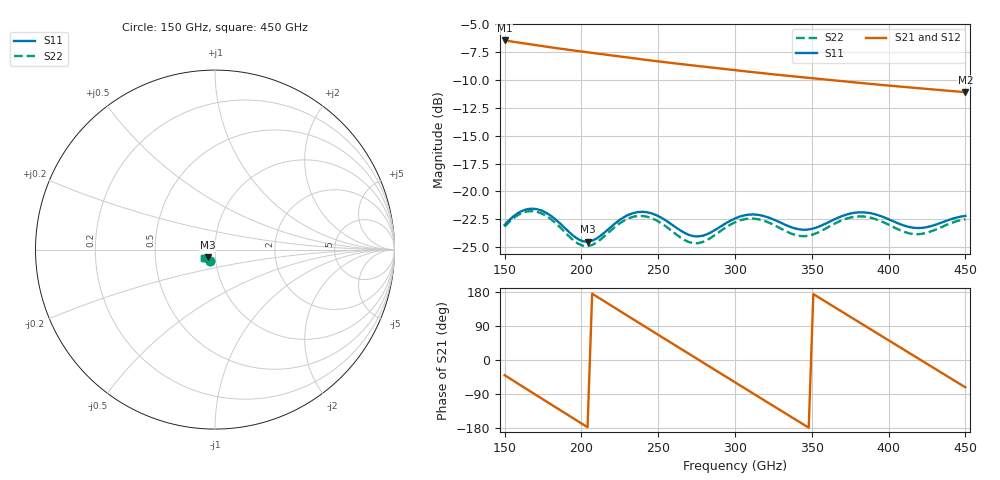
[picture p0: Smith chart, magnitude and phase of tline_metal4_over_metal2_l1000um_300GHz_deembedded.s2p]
! Created with skrf 2.2.0 (http://scikit-rf.org).
# GHz S DB R 50.0
! Port[1] = P1
! Port[2] = P2
!freq dBS11 angS11 dBS21 angS21 dBS12 angS12 dBS22 angS22
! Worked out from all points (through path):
!   101 points, 150 GHz to 450 GHz, reference 50 ohm
!   highest |S21| = -6.47 dB at 150 GHz (marker M1); lowest = -11.1 dB at 450 GHz (marker M2)
!   group delay of S21, straight-line fit = 6.96 ps
!   lowest |S11| = -24.5 dB at 204 GHz (marker M3), VSWR 1.13, Z = 45.9 - j3.97 ohm
!   |S11| at or under -10 dB: start of sweep to end of sweep
!   |S22| runs from -24.9 to -21.8 dB; largest |S21 - S12| = 5.4e-14
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150  -23.01 -114.0  -6.47 -40.0  -6.47 -40.0  -23.16 -113.6
162  -21.71 -122.3  -6.71 -70.7  -6.71 -70.7  -21.90 -122.3
174  -21.71 -133.6  -6.96 -101.3  -6.96 -101.3  -21.97 -133.8
189  -23.26 -141.4  -7.25 -139.4  -7.25 -139.4  -23.63 -141.4
201  -24.47 -136.0  -7.47 -169.8  -7.47 -169.8  -24.88 -135.5
204  -24.52 -133.5  -7.53 -177.4  -7.53 -177.4  -24.91 -132.8
216  -23.58 -126.7  -7.74 152.2  -7.74 152.2  -23.89 -126.0
231  -22.08 -131.3  -8.01 114.3  -8.01 114.3  -22.40 -131.2
240  -21.83 -137.4  -8.17 91.7  -8.17 91.7  -22.21 -137.7
252  -22.36 -144.6  -8.38 61.5  -8.38 61.5  -22.85 -144.9
264  -23.46 -145.9  -8.57 31.4  -8.57 31.4  -24.09 -145.5
276  -24.04 -140.0  -8.76 1.3  -8.76 1.3  -24.64 -138.3
288  -23.38 -134.8  -8.94 -28.8  -8.94 -28.8  -23.81 -132.8
300  -22.42 -136.3  -9.13 -58.8  -9.13 -58.8  -22.77 -134.9
321  -22.30 -145.6  -9.45 -111.3  -9.45 -111.3  -22.74 -145.0
336  -23.18 -146.5  -9.66 -148.7  -9.66 -148.7  -23.75 -145.6
351  -23.33 -141.0  -9.86 173.9  -9.86 173.9  -23.86 -138.9
363  -22.62 -139.1  -10.02 144.0  -10.02 144.0  -23.03 -137.0
378  -21.91 -143.3  -10.23 106.6  -10.23 106.6  -22.27 -141.7
402  -22.62 -150.6  -10.54 47.0  -10.54 47.0  -23.12 -149.3
426  -23.17 -144.3  -10.82 -12.6  -10.82 -12.6  -23.66 -141.4
450  -22.20 -145.0  -11.11 -72.1  -11.11 -72.1  -22.50 -142.5
